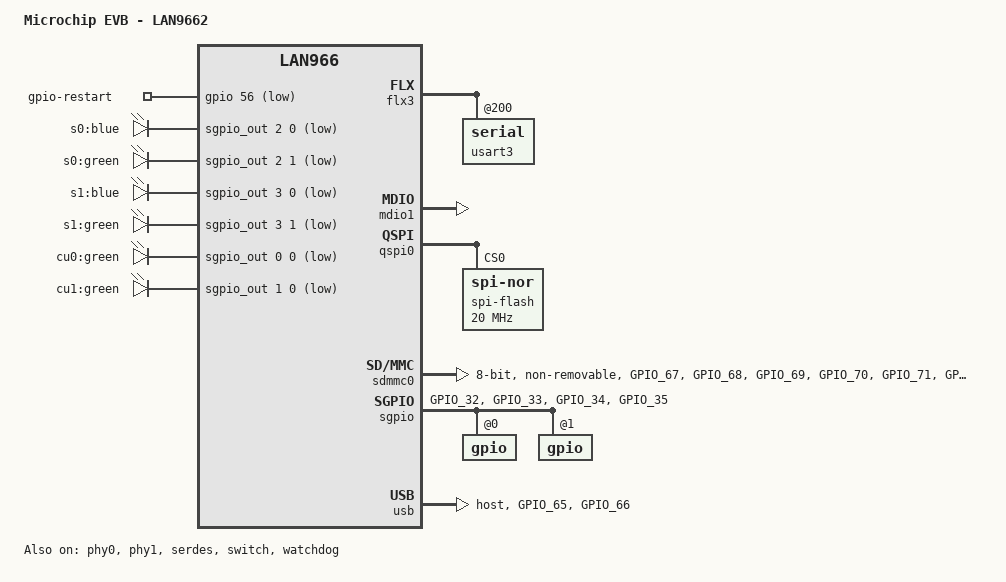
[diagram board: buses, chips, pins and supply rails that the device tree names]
// SPDX-License-Identifier: (GPL-2.0+ OR MIT)
/*
 * lan966x_pcb8291.dts - Device Tree file for PCB8291
 */
/dts-v1/;
#include "lan966x.dtsi"
#include "lan966x-port-delay-pcb8291.dtsi"
#include "dt-bindings/phy/phy-lan966x-serdes.h"

/ {
	model = "Microchip EVB - LAN9662";
	compatible = "microchip,lan9662-pcb8291", "microchip,lan9662", "microchip,lan966";

	chosen {
		stdout-path = "serial0:115200n8";
	};

	aliases {
		serial0 = &usart3;
	};

	gpio-restart {
		compatible = "gpio-restart";
		gpios = <&gpio 56 GPIO_ACTIVE_LOW>;
		priority = <200>;
	};

	leds {
		compatible = "gpio-leds";

		led-s0-blue {
			label = "s0:blue";
			gpios = <&sgpio_out 2 0 GPIO_ACTIVE_LOW>;
			default-state = "off";
		};

		led-s0-green {
			label = "s0:green";
			gpios = <&sgpio_out 2 1 GPIO_ACTIVE_LOW>;
			default-state = "off";
		};

		led-s1-blue {
			label = "s1:blue";
			gpios = <&sgpio_out 3 0 GPIO_ACTIVE_LOW>;
			default-state = "off";
		};

		led-s1-green {
			label = "s1:green";
			gpios = <&sgpio_out 3 1 GPIO_ACTIVE_LOW>;
			default-state = "off";
		};

		led-p1-green {
			label = "cu0:green";
			gpios = <&sgpio_out 0 0 GPIO_ACTIVE_LOW>;
			default-state = "off";
			linux,default-trigger = "e200413c.mdio-mii:01:link";
		};

		led-p2-green {
			label = "cu1:green";
			gpios = <&sgpio_out 1 0 GPIO_ACTIVE_LOW>;
			default-state = "off";
			linux,default-trigger = "e200413c.mdio-mii:02:link";
		};
	};
};

&aes {
	status = "disabled"; /* Reserved by secure OS */
};

&gpio {
	emmc_sd_pins: emmc-sd-pins {
		/* eMMC_SD - CMD, CLK, D0, D1, D2, D3, RSTN */
		pins = "GPIO_67", "GPIO_68", "GPIO_69", "GPIO_70",
			"GPIO_71", "GPIO_72", "GPIO_77";
		function = "emmc_sd";
	};

	emmc_pins: emmc-pins {
		/* eMMC - D4, D5, D6, D7 */
		pins = "GPIO_73", "GPIO_74", "GPIO_75", "GPIO_76";
		function = "emmc";
	};

	fc3_b_pins: fc3-b-pins {
		/* RX, TX */
		pins = "GPIO_52", "GPIO_53";
		function = "fc3_b";
	};

	can0_b_pins:  can0-b-pins {
		/* RX, TX */
		pins = "GPIO_35", "GPIO_36";
		function = "can0_b";
	};

	sgpio_a_pins: sgpio-a-pins {
		/* SCK, D0, D1, LD */
		pins = "GPIO_32", "GPIO_33", "GPIO_34", "GPIO_35";
		function = "sgpio_a";
	};

	usb_host_a_pins: usb_host_a_pins {
		pins = "GPIO_65", "GPIO_66";
		function = "usb_host_a";
	};
};

&can0 {
	pinctrl-0 = <&can0_b_pins>;
	pinctrl-names = "default";
	status = "disabled"; /* Conflict with switch */
};

&flx3 {
	atmel,flexcom-mode = <ATMEL_FLEXCOM_MODE_USART>;
	status = "okay";

	usart3: serial@200 {
		pinctrl-0 = <&fc3_b_pins>;
		pinctrl-names = "default";
		status = "okay";
	};
};

&mdio1 {
	status = "okay";
};

&phy0 {
	status = "okay";
};

&phy1 {
	status = "okay";
};

&port0 {
	phy-handle = <&phy0>;
	phy-mode = "gmii";
	phys = <&serdes 0 CU(0)>;
	status = "okay";
};

&port1 {
	phy-handle = <&phy1>;
	phy-mode = "gmii";
	phys = <&serdes 1 CU(1)>;
	status = "okay";
};

&qspi0 {
	status = "okay";

	spi-flash@0 {
		compatible = "jedec,spi-nor";
		reg = <0>;
		spi-max-frequency = <20000000>;
		#address-cells = <1>;
		#size-cells = <1>;
		spi-tx-bus-width = <4>;
		spi-rx-bus-width = <4>;
		m25p,fast-read;
	};
};

&sdmmc0 {
	bus-width = <8>;
	cap-mmc-highspeed;
	cap-mmc-hw-reset;
	non-removable;
	pinctrl-0 = <&emmc_sd_pins>, <&emmc_pins>;
	pinctrl-names = "default";
	no-1-8-v;
	mmc-ddr-3_3v;
	tx-phase = <0>; /* 180 degrees phase shift */
	status = "okay";
};

&serdes {
	status = "okay";
};

&sgpio {
	pinctrl-0 = <&sgpio_a_pins>;
	pinctrl-names = "default";
	microchip,sgpio-port-ranges = <0 3>, <8 11>;
	status = "okay";

	gpio@0 {
		ngpios = <64>;
	};
	gpio@1 {
		ngpios = <64>;
	};
};

&switch {
	status = "okay";
};

&usb {
	dr_mode = "host";
	pinctrl-0 = <&usb_host_a_pins>;
	pinctrl-names = "default";
	status = "okay";
};

&watchdog {
	status = "okay";
};
